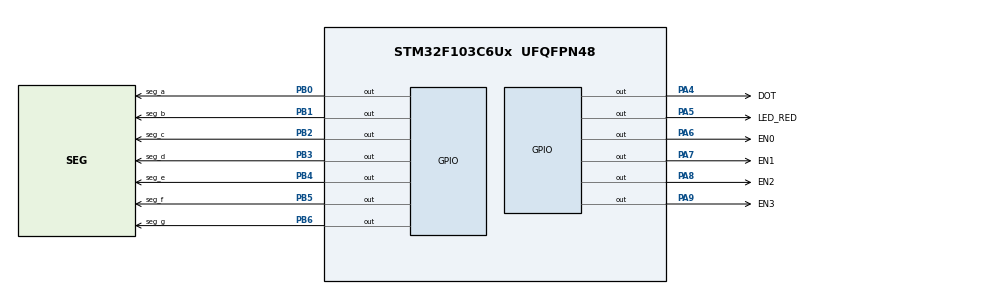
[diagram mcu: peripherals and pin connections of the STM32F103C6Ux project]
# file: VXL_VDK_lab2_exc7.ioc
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Mcu.Family=STM32F1
Mcu.Name=STM32F103C6Ux
Mcu.Package=UFQFPN48
NVIC.PriorityGroup=NVIC_PRIORITYGROUP_4
NVIC.TIM2_IRQn=true\:0\:0\:false\:false\:true\:true\:true\:true
PA4.GPIO_Label=DOT
PA4.Signal=GPIO_Output
PA5.GPIO_Label=LED_RED
PA5.Signal=GPIO_Output
PA6.GPIO_Label=EN0
PA6.Signal=GPIO_Output
PA7.GPIO_Label=EN1
PA7.Signal=GPIO_Output
PA8.GPIO_Label=EN2
PA8.Signal=GPIO_Output
PA9.GPIO_Label=EN3
PA9.Signal=GPIO_Output
PB0.GPIO_Label=seg_a
PB0.Signal=GPIO_Output
PB1.GPIO_Label=seg_b
PB1.Signal=GPIO_Output
PB2.GPIO_Label=seg_c
PB2.Signal=GPIO_Output
PB3.GPIO_Label=seg_d
PB3.Signal=GPIO_Output
PB4.GPIO_Label=seg_e
PB4.Signal=GPIO_Output
PB5.GPIO_Label=seg_f
PB5.Signal=GPIO_Output
PB6.GPIO_Label=seg_g
PB6.Signal=GPIO_Output
ProjectManager.HeapSize=0x200
ProjectManager.StackSize=0x400
ProjectManager.TargetToolchain=STM32CubeIDE
RCC.APB1Freq_Value=8000000
RCC.APB2Freq_Value=8000000
TIM2.Period=9
TIM2.Prescaler=7999
VP_SYS_VS_ND.Mode=No_Debug
VP_TIM2_VS_ClockSourceINT.Mode=Internal
board=custom

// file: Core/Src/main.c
/* USER CODE BEGIN Header */
/**
  ******************************************************************************
  * @file           : main.c
  * @brief          : Main program body
  ******************************************************************************
  * @attention
  *
  * Copyright (c) 2025 STMicroelectronics.
  * All rights reserved.
  *
  * This software is licensed under terms that can be found in the LICENSE file
  * in the root directory of this software component.
  * If no LICENSE file comes with this software, it is provided AS-IS.
  *
  ******************************************************************************
  */
/* USER CODE END Header */
#include "main.h"
#include "tim.h"
#include "gpio.h"

void SystemClock_Config(void);

/* USER CODE BEGIN 0 */

int led_buffer[4] = {0, 0, 0, 0};
uint8_t led7_table[10][7] =    {{0,0,0,0,0,0,1},
								{1,0,0,1,1,1,1},
								{0,0,1,0,0,1,0},
								{0,0,0,0,1,1,0},
								{1,0,0,1,1,0,0},
								{0,1,0,0,1,0,0},
								{0,1,0,0,0,0,0},
								{0,0,0,1,1,1,1},
								{0,0,0,0,0,0,0},
								{0,0,0,0,1,0,0}};
uint16_t EN_PIN[4] = {
    EN0_Pin,
    EN1_Pin,
    EN2_Pin,
    EN3_Pin,
};
void display7SEG(int num,int led){
	HAL_GPIO_WritePin(EN0_GPIO_Port, EN_PIN[0], SET);
	HAL_GPIO_WritePin(EN0_GPIO_Port, EN_PIN[1], SET);
	HAL_GPIO_WritePin(EN0_GPIO_Port, EN_PIN[2], SET);
	HAL_GPIO_WritePin(EN0_GPIO_Port, EN_PIN[3], SET);

	HAL_GPIO_WritePin(seg_a_GPIO_Port, seg_a_Pin, led7_table[num][0]);
	HAL_GPIO_WritePin(seg_b_GPIO_Port, seg_b_Pin, led7_table[num][1]);
	HAL_GPIO_WritePin(seg_c_GPIO_Port, seg_c_Pin, led7_table[num][2]);
	HAL_GPIO_WritePin(seg_g_GPIO_Port, seg_d_Pin, led7_table[num][3]);
	HAL_GPIO_WritePin(seg_f_GPIO_Port, seg_e_Pin, led7_table[num][4]);
	HAL_GPIO_WritePin(seg_e_GPIO_Port, seg_f_Pin, led7_table[num][5]);
	HAL_GPIO_WritePin(seg_d_GPIO_Port, seg_g_Pin, led7_table[num][6]);
	HAL_GPIO_WritePin(EN0_GPIO_Port, EN_PIN[led], RESET);
}

int LED_RED_cnt = 0;
int seg_cnt = 0;
int seg_idx = 0;
int my_cnt = 0;
int DOT_cnt = 0;
int hour = 15, minute = 8, second = 50;
int timer0_counter = 0;
int timer0_flag = 0;
int TIMER_CYCLE = 10;
void setTimer0(int duration){
	timer0_counter = duration /TIMER_CYCLE;
	timer0_flag = 0;
}
void timer_run(){
	if(timer0_counter > 0){
		timer0_counter--;
		if(timer0_counter == 0) timer0_flag = 1;
	}
}
void updateClockBuffer(){
	led_buffer[0] = hour/10;
	led_buffer[1] = hour - led_buffer[0]*10;
	led_buffer[2] = minute/10;
	led_buffer[3] = minute - led_buffer[2]*10;

};
void update7SEG(int index){
    switch (index){
        case 0:
        	display7SEG(led_buffer[0],0);
            break;
        case 1:
        	display7SEG(led_buffer[1],1);
            break;
        case 2:
        	display7SEG(led_buffer[2],2);
            break;
        case 3:
        	display7SEG(led_buffer[3],3);
            break;
        default:
            break;
    }
}
void HAL_TIM_PeriodElapsedCallback(TIM_HandleTypeDef *htim)
  {
	timer_run();
	++LED_RED_cnt;
 	 ++seg_cnt;
 	  if(seg_cnt >=25){
 		  seg_cnt = 0;
 		  update7SEG(seg_idx++);
 	  }
 	  if(seg_idx>3) seg_idx = 0;
 	  if(LED_RED_cnt >= 100){
 		  LED_RED_cnt = 0;
 		  HAL_GPIO_TogglePin(LED_RED_GPIO_Port, LED_RED_Pin);

 	  }

  }
/* USER CODE END 0 */

int main(void)
{

  /* MCU Configuration--------------------------------------------------------*/

  /* Reset of all peripherals, Initializes the Flash interface and the Systick. */
  HAL_Init();

  /* Configure the system clock */
  SystemClock_Config();

  /* Initialize all configured peripherals */
  MX_GPIO_Init();
  MX_TIM2_Init();
  /* USER CODE BEGIN 2 */
  HAL_TIM_Base_Start_IT(&htim2);
  HAL_GPIO_WritePin(LED_RED_GPIO_Port, LED_RED_Pin, RESET);
  HAL_GPIO_WritePin(DOT_GPIO_Port, DOT_Pin, RESET);
  updateClockBuffer();
  update7SEG(seg_idx++);
  setTimer0(1000);
  /* USER CODE END 2 */

  /* Infinite loop */
  /* USER CODE BEGIN WHILE */
  while (1)
  {
	  if(timer0_flag == 1){
	  setTimer0(1000);
	  HAL_GPIO_TogglePin(DOT_GPIO_Port, DOT_Pin);
	  second++;
	  if (second >= 60){
	            second = 0;
	            minute++;
	        }
      if(minute >= 60){
	            minute = 0;
	            hour++;
	        }
      if(hour >=24){
	            hour = 0;
	        }
	  updateClockBuffer();
	  }
    /* USER CODE END WHILE */

  }
}

void SystemClock_Config(void)
{
  RCC_OscInitTypeDef RCC_OscInitStruct = {0};
  RCC_ClkInitTypeDef RCC_ClkInitStruct = {0};

  /** Initializes the RCC Oscillators according to the specified parameters
  * in the RCC_OscInitTypeDef structure.
  */
  RCC_OscInitStruct.OscillatorType = RCC_OSCILLATORTYPE_HSI;
  RCC_OscInitStruct.HSIState = RCC_HSI_ON;
  RCC_OscInitStruct.HSICalibrationValue = RCC_HSICALIBRATION_DEFAULT;
  RCC_OscInitStruct.PLL.PLLState = RCC_PLL_NONE;
  if (HAL_RCC_OscConfig(&RCC_OscInitStruct) != HAL_OK)
  {
    Error_Handler();
  }

  /** Initializes the CPU, AHB and APB buses clocks
  */
  RCC_ClkInitStruct.ClockType = RCC_CLOCKTYPE_HCLK|RCC_CLOCKTYPE_SYSCLK
                              |RCC_CLOCKTYPE_PCLK1|RCC_CLOCKTYPE_PCLK2;
  RCC_ClkInitStruct.SYSCLKSource = RCC_SYSCLKSOURCE_HSI;
  RCC_ClkInitStruct.AHBCLKDivider = RCC_SYSCLK_DIV1;
  RCC_ClkInitStruct.APB1CLKDivider = RCC_HCLK_DIV1;
  RCC_ClkInitStruct.APB2CLKDivider = RCC_HCLK_DIV1;

  if (HAL_RCC_ClockConfig(&RCC_ClkInitStruct, FLASH_LATENCY_0) != HAL_OK)
  {
    Error_Handler();
  }
}

void Error_Handler(void)
{
  __disable_irq();
  while (1)
  {
  }
}
